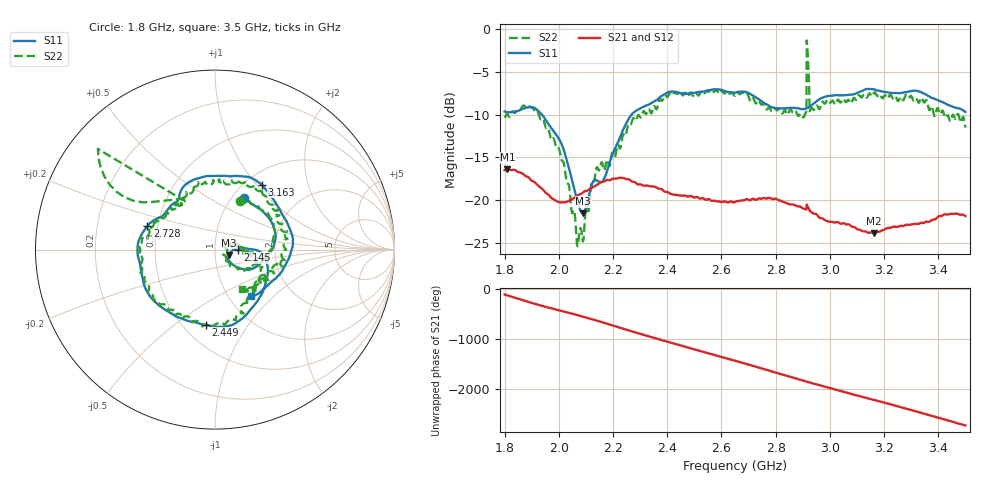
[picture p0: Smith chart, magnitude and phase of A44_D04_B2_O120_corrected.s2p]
! Created with skrf 1.9.0 (http://scikit-rf.org).
# Hz S RI R 50.0
!freq ReS11 ImS11 ReS21 ImS21 ReS12 ImS12 ReS22 ImS22
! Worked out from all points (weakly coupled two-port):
!   1601 points, 1.8 GHz to 3.5 GHz, reference 50 ohm
!   highest |S21| = -16.39 dB at 1.811 GHz (marker M1); lowest = -23.8 dB at 3.162 GHz (marker M2)
!   lowest |S11| = -21.5 dB at 2.09 GHz (marker M3), VSWR 1.18, Z = 58.4 - j3.46 ohm
!   |S11| at or under -10 dB: 1.938 GHz to 2.268 GHz (330 MHz wide, 15.7 % of centre)
!   |S22| runs from -25.4 to -1.3 dB; largest |S21 - S12| = 0.0024
!   S11 on the Smith chart (normalised r, x): 1.8 GHz: 1.14, +0.73; 2.145 GHz: 1.30, -0.00; 2.449 GHz: 0.64, -0.66; 2.728 GHz: 0.44, +0.14; 3.163 GHz: 1.18, +1.07; 3.5 GHz: 1.26, -0.74
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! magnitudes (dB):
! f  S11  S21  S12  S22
! 1.8 GHz  -9.6  -16.5  -16.5  -10.3
! 1.811 GHz  -9.7  -16.4  -16.4  -10.0
! 1.883 GHz  -9.2  -17.3  -17.3  -8.8
! 1.942 GHz  -10.2  -18.8  -18.8  -10.5
! 2.011 GHz  -13.5  -20.3  -20.2  -15.4
! 2.068 GHz  -20.0  -19.5  -19.5  -25.3
! 2.084 GHz  -21.4  -19.2  -19.2  -23.7
! 2.09 GHz  -21.5  -19.1  -19.1  -24.7
! 2.145 GHz  -17.8  -18.1  -18.1  -16.4
! 2.265 GHz  -10.1  -17.7  -17.7  -11.1
! 2.367 GHz  -8.1  -18.6  -18.6  -8.6
! 2.449 GHz  -7.5  -19.5  -19.5  -7.3
! 2.65 GHz  -7.4  -20.2  -20.2  -7.8
! 2.728 GHz  -8.0  -20.0  -20.0  -8.7
! 2.903 GHz  -9.3  -21.0  -21.0  -10.3
! 2.915 GHz  -9.2  -20.5  -20.5  -1.3
! 2.923 GHz  -9.1  -21.0  -21.0  -6.4
! 2.934 GHz  -8.9  -21.4  -21.4  -9.2
! 3.162 GHz  -7.0  -23.8  -23.8  -7.5
! 3.163 GHz  -7.0  -23.8  -23.8  -7.4
! 3.217 GHz  -7.4  -23.2  -23.2  -7.9
! 3.5 GHz  -9.7  -21.9  -21.8  -11.5
